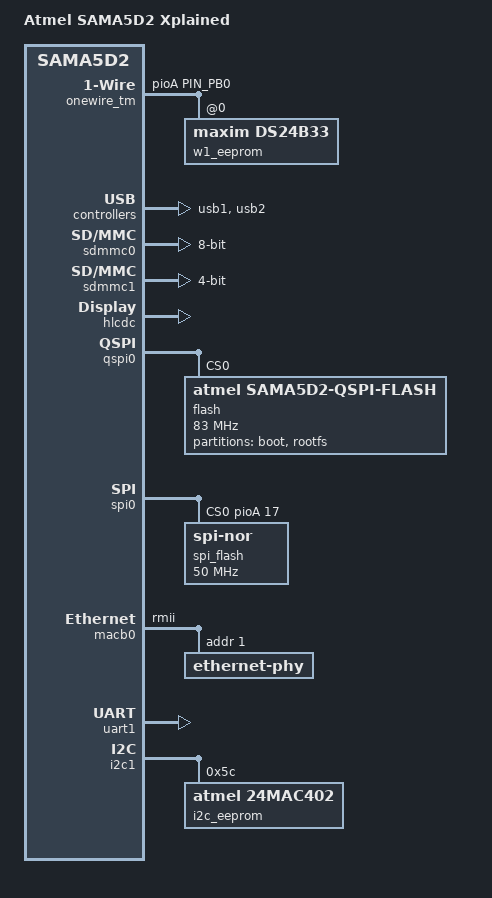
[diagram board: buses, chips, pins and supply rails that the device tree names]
/dts-v1/;
#include "sama5d2.dtsi"
#include "sama5d2-pinfunc.h"

/ {
	model = "Atmel SAMA5D2 Xplained";
	compatible = "atmel,sama5d2-xplained", "atmel,sama5d2", "atmel,sama5";

	chosen {
		u-boot,dm-pre-reloc;
		stdout-path = &uart1;
	};

	onewire_tm: onewire {
		gpios = <&pioA PIN_PB0 0>;
		pinctrl-names = "default";
		pinctrl-0 = <&pinctrl_onewire_tm_default>;
		status = "okay";

		w1_eeprom: w1_eeprom@0 {
			compatible = "maxim,ds24b33";
			status = "okay";
		};
	};

	ahb {
		usb1: ohci@00400000 {
			num-ports = <3>;
			atmel,vbus-gpio = <&pioA 42 0>;
			pinctrl-names = "default";
			pinctrl-0 = <&pinctrl_usb_default>;
			status = "okay";
		};

		usb2: ehci@00500000 {
			status = "okay";
		};

		sdmmc0: sdio-host@a0000000 {
			bus-width = <8>;
			pinctrl-names = "default";
			pinctrl-0 = <&pinctrl_sdmmc0_cmd_dat_default &pinctrl_sdmmc0_ck_cd_default>;
			status = "okay";
			u-boot,dm-pre-reloc;
		};

		sdmmc1: sdio-host@b0000000 {
			bus-width = <4>;
			pinctrl-names = "default";
			pinctrl-0 = <&pinctrl_sdmmc1_cmd_dat_default &pinctrl_sdmmc1_ck_cd_default>;
			status = "okay"; /* conflict with qspi0 */
			u-boot,dm-pre-reloc;
		};

		apb {
			hlcdc: hlcdc@f0000000 {
				atmel,vl-bpix = <4>;
				atmel,guard-time = <1>;
				pinctrl-names = "default";
				pinctrl-0 = <&pinctrl_lcd_base &pinctrl_lcd_pwm &pinctrl_lcd_rgb666>;
				status = "okay";
				u-boot,dm-pre-reloc;

				display-timings {
					u-boot,dm-pre-reloc;
					480x272 {
						clock-frequency = <9000000>;
						hactive = <480>;
						vactive = <272>;
						hsync-len = <41>;
						hfront-porch = <2>;
						hback-porch = <2>;
						vfront-porch = <2>;
						vback-porch = <2>;
						vsync-len = <11>;
						u-boot,dm-pre-reloc;
					};
				};
			};

			qspi0: spi@f0020000 {
				status = "okay";

				flash@0 {
					compatible = "atmel,sama5d2-qspi-flash";
					reg = <0>;
					#address-cells = <1>;
					#size-cells = <1>;
					pinctrl-names = "default";
					pinctrl-0 = <&pinctrl_qspi0_default>;
					spi-max-frequency = <83000000>;

					partition@00000000 {
						label = "boot";
						reg = <0x00000000 0x00c00000>;
					};

					partition@00c00000 {
						label = "rootfs";
						reg = <0x00c00000 0x00000000>;
					};
				};
			};

			spi0: spi@f8000000 {
				cs-gpios = <&pioA 17 0>, <0>, <0>, <0>;
				pinctrl-names = "default";
				pinctrl-0 = <&pinctrl_spi0_default>;
				status = "okay";
				u-boot,dm-pre-reloc;

				spi_flash@0 {
					compatible = "jedec,spi-nor";
					reg = <0>;
					spi-max-frequency = <50000000>;
					u-boot,dm-pre-reloc;
				};
			};

			macb0: ethernet@f8008000 {
				pinctrl-names = "default";
				pinctrl-0 = <&pinctrl_macb0_rmii &pinctrl_macb0_phy_irq>;
				phy-mode = "rmii";
				status = "okay";

				ethernet-phy@1 {
					reg = <0x1>;
				};
			};

			uart1: serial@f8020000 {
				pinctrl-names = "default";
				pinctrl-0 = <&pinctrl_uart1_default>;
				status = "okay";
				u-boot,dm-pre-reloc;
			};

			i2c1: i2c@fc028000 {
				pinctrl-names = "default";
				pinctrl-0 = <&pinctrl_i2c1_default>;
				status = "okay";

				i2c_eeprom: i2c_eeprom@5c {
					compatible = "atmel,24mac402";
					reg = <0x5c>;
				};
			};

			pioA: gpio@fc038000 {
				pinctrl {
					pinctrl_i2c1_default: i2c1_default {
						pinmux = <PIN_PD4__TWD1>,
							 <PIN_PD5__TWCK1>;
						bias-disable;
					};

					pinctrl_lcd_base: pinctrl_lcd_base {
						pinmux = <PIN_PC30__LCDVSYNC>,
							<PIN_PC31__LCDHSYNC>,
							<PIN_PD1__LCDDEN>,
							<PIN_PD0__LCDPCK>;
						bias-disable;
					};

					pinctrl_lcd_pwm: pinctrl_lcd_pwm {
						pinmux = <PIN_PC28__LCDPWM>;
						bias-disable;
					};

					pinctrl_lcd_rgb666: pinctrl_lcd_rgb666 {
						pinmux = <PIN_PC10__LCDDAT2>,
							<PIN_PC11__LCDDAT3>,
							<PIN_PC12__LCDDAT4>,
							<PIN_PC13__LCDDAT5>,
							<PIN_PC14__LCDDAT6>,
							<PIN_PC15__LCDDAT7>,
							<PIN_PC16__LCDDAT10>,
							<PIN_PC17__LCDDAT11>,
							<PIN_PC18__LCDDAT12>,
							<PIN_PC19__LCDDAT13>,
							<PIN_PC20__LCDDAT14>,
							<PIN_PC21__LCDDAT15>,
							<PIN_PC22__LCDDAT18>,
							<PIN_PC23__LCDDAT19>,
							<PIN_PC24__LCDDAT20>,
							<PIN_PC25__LCDDAT21>,
							<PIN_PC26__LCDDAT22>,
							<PIN_PC27__LCDDAT23>;
						bias-disable;
					};

					pinctrl_macb0_phy_irq: macb0_phy_irq {
						pinmux = <PIN_PC9__GPIO>;
						bias-disable;
					};

					pinctrl_macb0_rmii: macb0_rmii {
						pinmux = <PIN_PB14__GTXCK>,
							 <PIN_PB15__GTXEN>,
							 <PIN_PB16__GRXDV>,
							 <PIN_PB17__GRXER>,
							 <PIN_PB18__GRX0>,
							 <PIN_PB19__GRX1>,
							 <PIN_PB20__GTX0>,
							 <PIN_PB21__GTX1>,
							 <PIN_PB22__GMDC>,
							 <PIN_PB23__GMDIO>;
						bias-disable;
					};

					pinctrl_qspi0_default: qspi0_default {
						pinmux = <PIN_PA22__QSPI0_SCK>,
							 <PIN_PA23__QSPI0_CS>,
							 <PIN_PA24__QSPI0_IO0>,
							 <PIN_PA25__QSPI0_IO1>,
							 <PIN_PA26__QSPI0_IO2>,
							 <PIN_PA27__QSPI0_IO3>;
						bias-disable;
					};

					pinctrl_sdmmc0_cmd_dat_default: sdmmc0_cmd_dat_default {
						pinmux = <PIN_PA1__SDMMC0_CMD>,
							 <PIN_PA2__SDMMC0_DAT0>,
							 <PIN_PA3__SDMMC0_DAT1>,
							 <PIN_PA4__SDMMC0_DAT2>,
							 <PIN_PA5__SDMMC0_DAT3>,
							 <PIN_PA6__SDMMC0_DAT4>,
							 <PIN_PA7__SDMMC0_DAT5>,
							 <PIN_PA8__SDMMC0_DAT6>,
							 <PIN_PA9__SDMMC0_DAT7>;
						bias-pull-up;
						u-boot,dm-pre-reloc;
					};

					pinctrl_sdmmc0_ck_cd_default: sdmmc0_ck_cd_default {
						pinmux = <PIN_PA0__SDMMC0_CK>,
							 <PIN_PA10__SDMMC0_RSTN>,
							 <PIN_PA11__SDMMC0_VDDSEL>,
							 <PIN_PA13__SDMMC0_CD>;
						bias-disable;
						u-boot,dm-pre-reloc;
					};

					pinctrl_sdmmc1_cmd_dat_default: sdmmc1_cmd_dat_default {
						pinmux = <PIN_PA28__SDMMC1_CMD>,
							 <PIN_PA18__SDMMC1_DAT0>,
							 <PIN_PA19__SDMMC1_DAT1>,
							 <PIN_PA20__SDMMC1_DAT2>,
							 <PIN_PA21__SDMMC1_DAT3>;
						bias-pull-up;
						u-boot,dm-pre-reloc;
					};

					pinctrl_sdmmc1_ck_cd_default: sdmmc1_ck_cd_default {
						pinmux = <PIN_PA22__SDMMC1_CK>,
							 <PIN_PA30__SDMMC1_CD>;
						bias-disable;
						u-boot,dm-pre-reloc;
					};

					pinctrl_spi0_default: spi0_default {
						pinmux = <PIN_PA14__SPI0_SPCK>,
							 <PIN_PA15__SPI0_MOSI>,
							 <PIN_PA16__SPI0_MISO>;
						bias-disable;
						u-boot,dm-pre-reloc;
					};

					pinctrl_uart1_default: uart1_default {
						pinmux = <PIN_PD2__URXD1>,
							 <PIN_PD3__UTXD1>;
						bias-disable;
						u-boot,dm-pre-reloc;
					};

					pinctrl_usb_default: usb_default {
						pinmux = <PIN_PB10__GPIO>;
						bias-disable;
					};

					pinctrl_usba_vbus: usba_vbus {
						pinmux = <PIN_PA31__GPIO>;
						bias-disable;
					};

					pinctrl_onewire_tm_default: onewire_tm_default {
						pinmux = <PIN_PB0__GPIO>;
						bias-pull-up;
					};
				};
			};
		};
	};
};
